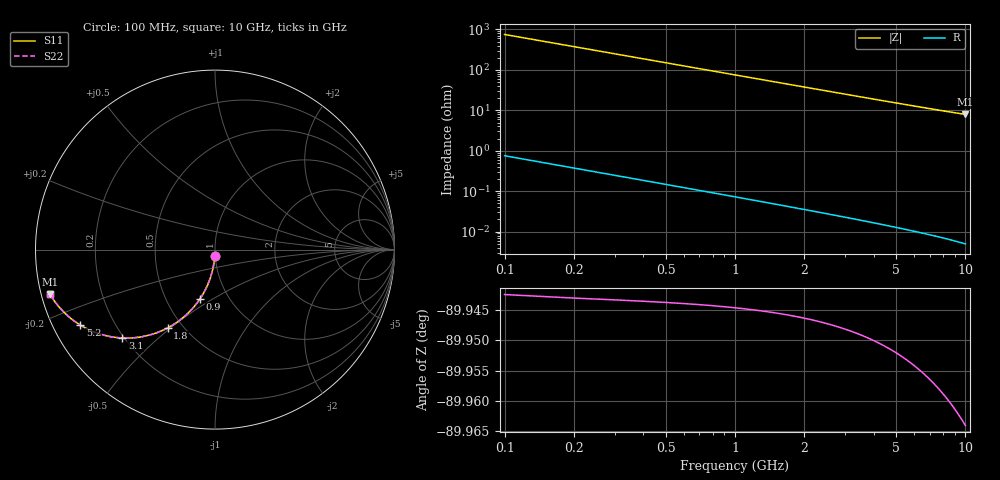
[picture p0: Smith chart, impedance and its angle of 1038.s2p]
# Hz S RI R 50.00
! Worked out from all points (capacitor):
!   100 points, 100 MHz to 10 GHz, reference 50 ohm
!   read as one part in shunt: C = 2.12 pF near 100 MHz
!   lowest |Z| = 7.92 ohm at 10 GHz (marker M1)
!   S11 on the Smith chart (normalised r, x): 100 MHz: 1.00, -0.07; 900 MHz: 0.74, -0.44; 1.8 GHz: 0.41, -0.49; 3.1 GHz: 0.19, -0.39; 5.2 GHz: 0.08, -0.26; 10 GHz: 0.02, -0.13
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1e8  -0.00102 -0.033  0.9987 -0.0334  0.9987 -0.0334  -0.00102 -0.033
2e8  -0.00435 -0.0658  0.9954 -0.0666  0.9954 -0.0666  -0.00435 -0.0658
3e8  -0.00983 -0.0981  0.9899 -0.0994  0.9899 -0.0994  -0.00983 -0.0981
4e8  -0.0174 -0.1298  0.9824 -0.1315  0.9824 -0.1315  -0.0174 -0.1298
5e8  -0.0269 -0.1606  0.9728 -0.1628  0.9728 -0.1628  -0.0269 -0.1606
6e8  -0.0383 -0.1905  0.9614 -0.1931  0.9614 -0.1931  -0.0383 -0.1905
7e8  -0.0515 -0.2192  0.9483 -0.2222  0.9483 -0.2222  -0.0515 -0.2192
9e8  -0.0823 -0.2726  0.9174 -0.2765  0.9174 -0.2765  -0.0823 -0.2726
1.1e9  -0.1182 -0.32  0.8816 -0.3249  0.8816 -0.3249  -0.1182 -0.32
1.3e9  -0.1576 -0.3612  0.8421 -0.3669  0.8421 -0.3669  -0.1576 -0.3612
1.5e9  -0.1995 -0.3959  0.8003 -0.4025  0.8003 -0.4025  -0.1995 -0.3959
1.8e9  -0.2641 -0.4365  0.7357 -0.4443  0.7357 -0.4443  -0.2641 -0.4365
2.4e9  -0.3896 -0.4819  0.6101 -0.4924  0.6101 -0.4924  -0.3896 -0.4819
3.1e9  -0.5159 -0.4924  0.4837 -0.506  0.4837 -0.506  -0.5159 -0.4924
3.4e9  -0.5619 -0.4881  0.4377 -0.5031  0.4377 -0.5031  -0.5619 -0.4881
4.2e9  -0.6623 -0.4631  0.3373 -0.4816  0.3373 -0.4816  -0.6623 -0.4631
5.1e9  -0.7435 -0.4247  0.2559 -0.4473  0.2559 -0.4473  -0.7435 -0.4247
5.2e9  -0.7509 -0.4203  0.2485 -0.4433  0.2485 -0.4433  -0.7509 -0.4203
5.9e9  -0.7956 -0.3894  0.2038 -0.4156  0.2038 -0.4156  -0.7956 -0.3894
6.7e9  -0.8343 -0.356  0.165 -0.3859  0.165 -0.3859  -0.8343 -0.356
8.4e9  -0.8887 -0.2944  0.1103 -0.3323  0.1103 -0.3323  -0.8887 -0.2944
1e10  -0.9195 -0.2478  0.0792 -0.2933  0.0792 -0.2933  -0.9195 -0.2478
